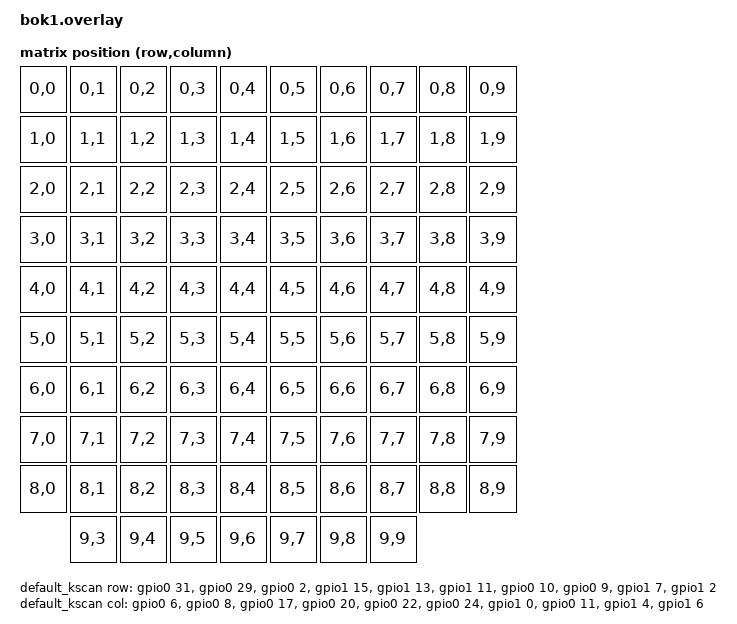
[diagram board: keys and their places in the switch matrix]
#include <dt-bindings/zmk/matrix_transform.h>

 / {
    chosen {
        zmk,kscan = &default_kscan;
        zmk,matrix_transform = &default_transform;
    };

    default_kscan: kscan {
        compatible = "zmk,kscan-gpio-matrix";
        label = "default_kscan";
        diode-direction = "row2col";

        row-gpios = <&gpio0 31 (GPIO_ACTIVE_HIGH | GPIO_PULL_DOWN)>,  // Row 1
                    <&gpio0 29 (GPIO_ACTIVE_HIGH | GPIO_PULL_DOWN)>,  // Row 2
                    <&gpio0 2  (GPIO_ACTIVE_HIGH | GPIO_PULL_DOWN)>,  // Row 3
                    <&gpio1 15 (GPIO_ACTIVE_HIGH | GPIO_PULL_DOWN)>,  // Row 4
                    <&gpio1 13 (GPIO_ACTIVE_HIGH | GPIO_PULL_DOWN)>,  // Row 5
                    <&gpio1 11 (GPIO_ACTIVE_HIGH | GPIO_PULL_DOWN)>,  // Row 6
                    <&gpio0 10 (GPIO_ACTIVE_HIGH | GPIO_PULL_DOWN)>,  // Row 7
                    <&gpio0 9  (GPIO_ACTIVE_HIGH | GPIO_PULL_DOWN)>,  // Row 8
                    <&gpio1 7  (GPIO_ACTIVE_HIGH | GPIO_PULL_DOWN)>,  // Row 9
                    <&gpio1 2  (GPIO_ACTIVE_HIGH | GPIO_PULL_DOWN)>;  // Row 10

        col-gpios = <&gpio0 6  (GPIO_ACTIVE_HIGH | GPIO_PULL_DOWN)>,  // Col A
                    <&gpio0 8  (GPIO_ACTIVE_HIGH | GPIO_PULL_DOWN)>,  // Col B
                    <&gpio0 17 (GPIO_ACTIVE_HIGH | GPIO_PULL_DOWN)>,  // Col C
                    <&gpio0 20 (GPIO_ACTIVE_HIGH | GPIO_PULL_DOWN)>,  // Col D
                    <&gpio0 22 (GPIO_ACTIVE_HIGH | GPIO_PULL_DOWN)>,  // Col E
                    <&gpio0 24 (GPIO_ACTIVE_HIGH | GPIO_PULL_DOWN)>,  // Col F
                    <&gpio1 0  (GPIO_ACTIVE_HIGH | GPIO_PULL_DOWN)>,  // Col G
                    <&gpio0 11 (GPIO_ACTIVE_HIGH | GPIO_PULL_DOWN)>,  // Col H
                    <&gpio1 4  (GPIO_ACTIVE_HIGH | GPIO_PULL_DOWN)>,  // Col I
                    <&gpio1 6  (GPIO_ACTIVE_HIGH | GPIO_PULL_DOWN)>;  // Col J

    };

    default_transform: matrix_transform {
        compatible = "zmk,matrix-transform";
        rows = <10>;
        columns = <10>;

        map = <
            RC(0,0) RC(0,1) RC(0,2) RC(0,3) RC(0,4) RC(0,5) RC(0,6) RC(0,7) RC(0,8) RC(0,9)
            RC(1,0) RC(1,1) RC(1,2) RC(1,3) RC(1,4) RC(1,5) RC(1,6) RC(1,7) RC(1,8) RC(1,9)
            RC(2,0) RC(2,1) RC(2,2) RC(2,3) RC(2,4) RC(2,5) RC(2,6) RC(2,7) RC(2,8) RC(2,9)
            RC(3,0) RC(3,1) RC(3,2) RC(3,3) RC(3,4) RC(3,5) RC(3,6) RC(3,7) RC(3,8) RC(3,9)
            RC(4,0) RC(4,1) RC(4,2) RC(4,3) RC(4,4) RC(4,5) RC(4,6) RC(4,7) RC(4,8) RC(4,9)
            RC(5,0) RC(5,1) RC(5,2) RC(5,3) RC(5,4) RC(5,5) RC(5,6) RC(5,7) RC(5,8) RC(5,9)
            RC(6,0) RC(6,1) RC(6,2) RC(6,3) RC(6,4) RC(6,5) RC(6,6) RC(6,7) RC(6,8) RC(6,9)
            RC(7,0) RC(7,1) RC(7,2) RC(7,3) RC(7,4) RC(7,5) RC(7,6) RC(7,7) RC(7,8) RC(7,9)
            RC(8,0) RC(8,1) RC(8,2) RC(8,3) RC(8,4) RC(8,5) RC(8,6) RC(8,7) RC(8,8) RC(8,9)
                    RC(9,3) RC(9,4) RC(9,5) RC(9,6) RC(9,7) RC(9,8) RC(9,9)
        >;

    };
};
